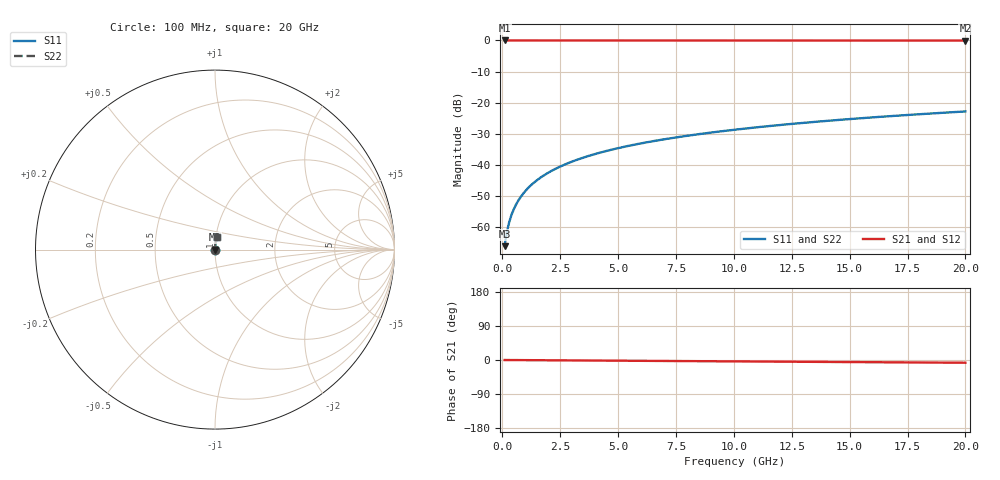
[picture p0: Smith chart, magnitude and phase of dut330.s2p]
! Touchstone file exported from HFSS 2026.1.0
!  File:  C:/ffzhzh/LocalFiles/Ansys_Project_Files/temp_train_TSV_330_1783018576_55676.aedt
!  Generated:  02:58:24 AM Jul  3, 2026
!  Design:  TSV
!  Project:  temp_train_TSV_330_1783018576_55676
! Variables:
!  h_bsmrdl = 2um
!  h_ox = 20um
!  h_rdl = 5um
!  h_sub = 51.98um
!  h_tmrdl = 5um
!  h_tsv = 51.98um
!  h_via = 3um
!  l_bsmrdl = 300um
!  l_sub = 409.48um
!  l_tmrdl = 200um
!  m_sub = 200um
!  pitch = 49.27um
!  r_tsv = 4.74um
!  s_tmrdl = 10um
!  w_bsmrdl = 18um
!  w_sub = 500um
!  w_tmrdl = 12um
!  x_tsv_center1 = 206um
!  x_tsv_center2 = 524um
!  x_tsv_center3 = 736um
!  x_tsv_center4 = 1054um
!  x_tsv_center5 = 1266um
!  x_tsv_center6 = 1584um
# GHz S MA R 50.000000
! Terminal data exported
! Port[1] = TSV1_1_T1
! Port[2] = TSV1_1_T2
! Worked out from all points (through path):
!   200 points, 100 MHz to 20 GHz, reference 50 ohm
!   highest |S21| = 0.00 dB at 100 MHz (marker M1); lowest = 0.0 dB at 20 GHz (marker M2)
!   group delay of S21, straight-line fit = 1.01 ps
!   lowest |S11| = -66.1 dB at 100 MHz (marker M3), VSWR 1.00, Z = 50 + j0.0394 ohm
!   |S11| at or under -10 dB: start of sweep to end of sweep
!   |S22| runs from -66.1 to -22.8 dB; largest |S21 - S12| = 4.6e-15
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0.1  0.0004947 52.7  0.9997 -0.0  0.9997 -0.0  0.0004947 52.7
! Gamma 0 0 0 0
! Port Impedance 50 0 50 0
0.2  0.0008425 68.4  0.9997 -0.1  0.9997 -0.1  0.0008425 68.4
0.3  0.001212 74.5  0.9997 -0.1  0.9997 -0.1  0.001212 74.5
0.4  0.001585 77.7  0.9997 -0.2  0.9997 -0.2  0.001585 77.7
0.5  0.001958 79.7  0.9997 -0.2  0.9997 -0.2  0.001958 79.7
0.7  0.002704 82.0  0.9996 -0.3  0.9996 -0.3  0.002704 82.0
0.8  0.003077 82.8  0.9996 -0.3  0.9996 -0.3  0.003077 82.8
1  0.003823 83.8  0.9996 -0.4  0.9996 -0.4  0.003823 83.8
1.2  0.00457 84.5  0.9996 -0.4  0.9996 -0.4  0.00457 84.5
1.4  0.005317 85.0  0.9996 -0.5  0.9996 -0.5  0.005317 85.0
1.7  0.006436 85.5  0.9995 -0.6  0.9995 -0.6  0.006436 85.5
2  0.007554 85.8  0.9995 -0.7  0.9995 -0.7  0.007554 85.8
2.7  0.01015 86.0  0.9994 -1.0  0.9994 -1.0  0.01015 86.0
3.5  0.01311 86.1  0.9993 -1.3  0.9993 -1.3  0.01311 86.1
4.2  0.01567 86.0  0.9992 -1.5  0.9992 -1.5  0.01567 86.0
5  0.01859 85.9  0.9991 -1.8  0.9991 -1.8  0.01859 85.9
6.8  0.02512 85.5  0.9988 -2.5  0.9988 -2.5  0.02512 85.5
8.3  0.03053 85.1  0.9985 -3.0  0.9985 -3.0  0.03053 85.1
10.1  0.037 84.6  0.9982 -3.7  0.9982 -3.7  0.037 84.6
13.4  0.04883 83.7  0.9976 -4.9  0.9976 -4.9  0.04883 83.7
16.7  0.06061 82.6  0.9968 -6.1  0.9968 -6.1  0.06061 82.6
20  0.07231 81.5  0.9958 -7.3  0.9958 -7.3  0.07231 81.5
